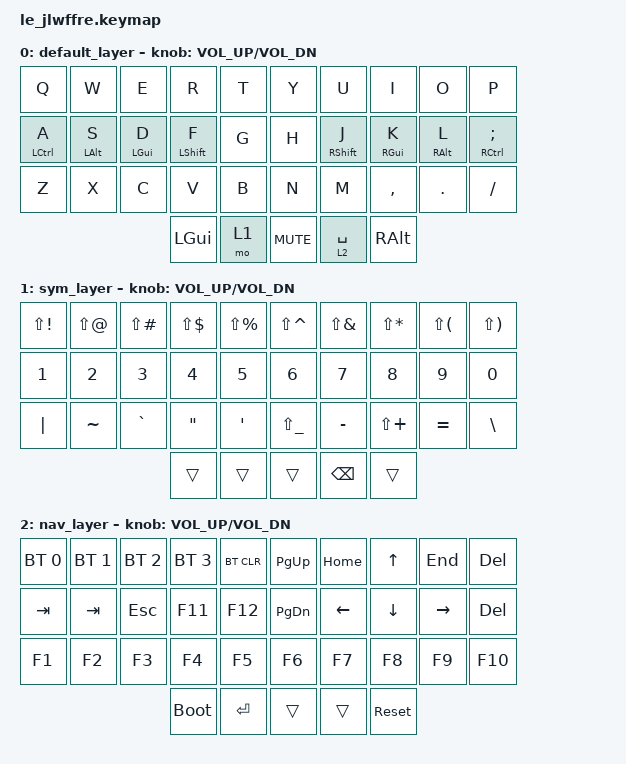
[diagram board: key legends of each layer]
/*
 * Copyright (c) 2022 The ZMK Contributors
 *
 * SPDX-License-Identifier: MIT
 */

#include <behaviors.dtsi>
#include <dt-bindings/zmk/keys.h>
#include <dt-bindings/zmk/bt.h>

/ {
    combos {
        compatible = "zmk,combos";

        Backspace {
            bindings = <&kp BACKSPACE>;
            key-positions = <19 18>;
            timeout-ms = <30>;
        };

        CapsLock {
            bindings = <&kp CAPS>;
            key-positions = <5 4>;
            timeout-ms = <30>;
        };

        LParenthesis {
            bindings = <&kp LEFT_PARENTHESIS>;
            key-positions = <7 6>;
            timeout-ms = <30>;
        };

        RParenthesis {
            bindings = <&kp RIGHT_PARENTHESIS>;
            key-positions = <8 7>;
            timeout-ms = <30>;
        };

        LBrace {
            bindings = <&kp LEFT_BRACE>;
            key-positions = <17 16>;
            timeout-ms = <30>;
        };

        RBrace {
            bindings = <&kp RIGHT_BRACE>;
            key-positions = <18 17>;
            timeout-ms = <30>;
        };

        LBracket {
            bindings = <&kp LEFT_BRACKET>;
            key-positions = <27 26>;
            timeout-ms = <30>;
        };

        RBracket {
            bindings = <&kp RIGHT_BRACKET>;
            key-positions = <28 27>;
            timeout-ms = <30>;
        };
    };

    behaviors {
        hrm: homewrow_mods {
            compatible = "zmk,behavior-hold-tap";
            label = "HOMEROW_MODS";
            bindings = <&kp>, <&kp>;

            #binding-cells = <2>;
            tapping-term-ms = <200>;
            hold-trigger-key-positions = <0 1 2 3 4 5 17 16 15 14 13 12 25 26 27 28 29 37 36 38 24 6 7 8 9 10 11 23 22 21 20 19 18 30 39 40 41 31 32 33 35 34>;
            flavor = "tap-preferred";
        };

        hrs: homewrow_shift {
            compatible = "zmk,behavior-hold-tap";
            label = "HOMEROW_SHIFT";
            bindings = <&kp>, <&kp>;

            #binding-cells = <2>;
            tapping-term-ms = <200>;
            hold-trigger-key-positions = <6 7 8 9 10 11 18 19 20 21 22 23 30 31 32 33 34 35 39 40 41 17 4 16 5 29 28 37 36 38 27 15 3 2 14 26 25 13 1 0 12 24>;
            flavor = "balanced";
        };
    };


    keymap {
        compatible = "zmk,keymap";
        default_layer {
            bindings = <
        //╭──────────┬──────────┬──────────┬──────────┬──────────╮                      ╭──────────┬──────────┬──────────┬──────────┬──────────╮
        //│  Q       │  W       │  E       │  R       │  T       │                      │  J       │  L       │  U       │  Y       │ ' "      │
        //    &kp Q      &kp W      &kp E      &kp R      &kp T                             &kp J      &kp L      &kp U      &kp Y      &as SQT
        //├──────────┼──────────┼──────────┼──────────┼──────────┤                      ├──────────┼──────────┼──────────┼──────────┼──────────┤
        //│  A       │  R       │  D       │  F       │  G       │                      │  M       │  N       │  E       │  I       │ O        │
        //    HRML(A,     R,                  &kp F     &kp G                             &kp M      &kp N      HRMR(E,     I,        O)
        //├──────────┼──────────┼──────────┼──────────┼──────────┤                      ├──────────┼──────────┼──────────┼──────────┼──────────┤
        //│  Z       │  X       │  C       │  D       │  V       │                      │  K       │  H       │ , <      │ . >      │ / ?      │
        //    &kp Z      &kp X      &kp C      &kp D      &kp V                             &kp K      &kp H      &as COMMA  &as DOT    &as FSLH
        //╰──────────┴──────────┴──────────┼──────────┼──────────┤                      ├──────────┼──────────┼──────────┴──────────┴──────────╯
        //                                    &lt 3 TAB  &mt LSHIFT BSPC   &kp C_MUTE      &lt 1 SPACE &lt 2 RET
        //                                 ╰──────────┴──────────╯                      ╰──────────┴──────────╯
            
&kp Q                &kp W            &kp E            &kp R              &kp T      &kp Y      &kp U               &kp I             &kp O             &kp P                       
&hrm LEFT_CONTROL A  &hrm LEFT_ALT S  &hrm LEFT_GUI D  &hrs LEFT_SHIFT F  &kp G      &kp H      &hrs RIGHT_SHIFT J  &hrm RIGHT_GUI K  &hrm RIGHT_ALT L  &hrm RIGHT_CONTROL SEMICOLON
&kp Z                &kp X            &kp C            &kp V              &kp B      &kp N      &kp M               &kp COMMA         &kp DOT           &kp FSLH
                                                        &kp LGUI         &mo 1      &kp C_MUTE         &lt 2 SPACE  &kp RIGHT_ALT
            >;
            sensor-bindings = <&inc_dec_kp C_VOL_UP C_VOL_DN>;
        };

        sym_layer {
            bindings = <
        //╭──────────┬──────────┬──────────┬──────────┬──────────╮      ╭──────────┬──────────┬──────────┬──────────┬──────────╮
        //│  ` ~     │          │          │          │          │      │  \ |     │  - _     │  = +     │  [       │  ]       │
        //    &as GRAVE  &none      &none      &none      &none             &as BSLH   &as MINUS  &as EQUAL  &as LBKT   &as RBKT
        //├──────────┼──────────┼──────────┼──────────┼──────────┤      ├──────────┼──────────┼──────────┼──────────┼──────────┤
        //│  1 !     │  2 @     │  3 #     │  4 $     │  5 %     │      │  6 ^     │  7 &     │  8 *     │  9 (     │  0 )     │
        //    &as N1     &as N2     &as N3     &as N4     &as N5            &as N6     &as N7     &as N8     &as N9     &as N0
        //├──────────┼──────────┼──────────┼──────────┼──────────┤      ├──────────┼──────────┼──────────┼──────────┼──────────┤
        //│          │          │          │          │          │      │          │          │          │          │          │
        //    &none      &none      &none      &none      &none             &none      &none      &trans     &trans     &as SEMI
        //╰──────────┴──────────┴──────────┼──────────┼──────────┤      ├──────────┼──────────┼──────────┴──────────┴──────────╯
        //                                     &trans     &trans    &trans  &trans     &trans
        //                                 ╰──────────┴──────────╯      ╰──────────┴──────────╯
&kp LS(EXCL)  &kp LS(AT)  &kp LS(POUND)  &kp LS(DLLR)  &kp LS(PRCNT)    &kp LS(CARET)  &kp LS(AMPS)  &kp LS(STAR)  &kp LS(LPAR)  &kp LS(RPAR)
&kp N1        &kp N2      &kp N3         &kp N4        &kp N5           &kp N6         &kp N7        &kp N8        &kp N9        &kp N0        
&kp PIPE      &kp TILDE   &kp GRAVE      &kp DQT       &kp SQT          &kp LS(UNDER)  &kp MINUS     &kp LS(PLUS)  &kp EQUAL     &kp BSLH      
                                   &trans         &trans        &trans           &kp BACKSPACE  &trans
            >;
            sensor-bindings = <&inc_dec_kp C_VOL_UP C_VOL_DN>;
        };

        //fn_layer {
        //    bindings = <
        //╭──────────┬──────────┬──────────┬──────────┬──────────╮      ╭──────────┬──────────┬──────────┬──────────┬──────────╮
        //│          │          │          │          │          │      │          │          │          │  F11     │  F12     │
        //    &bt BT_CLR  &bt BT_SEL 0 &bt BT_SEL 1 &bt BT_SEL 2 &none      &none      &none      &none      &kp F11    &kp F12
        //├──────────┼──────────┼──────────┼──────────┼──────────┤      ├──────────┼──────────┼──────────┼──────────┼──────────┤
        //│  F1      │  F2      │  F3      │  F4      │  F5      │      │  F6      │  F7      │  F8      │  F9      │  F10     │
        //    HRML(F1,    F2,        F3)       &kp F4     &kp F5            &kp F6     &kp F7     HRMR(F8,    F9,        F10)
        //├──────────┼──────────┼──────────┼──────────┼──────────┤      ├──────────┼──────────┼──────────┼──────────┼──────────┤
        //│          │          │          │          │          │      │          │          │          │          │          │
        //    &none      &none      &none      &none      &none             &none      &none      &none      &none      &none
        //╰──────────┴──────────┴──────────┼──────────┼──────────┤      ├──────────┼──────────┼──────────┴──────────┴──────────╯
        //                                     &trans     &trans    &trans  &trans     &trans
        //                                 ╰──────────┴──────────╯      ╰──────────┴──────────╯
        //    >;
        //    sensor-bindings = <&inc_dec_kp C_VOL_UP C_VOL_DN>;
        //};

        nav_layer {
            bindings = <
        //╭──────────┬──────────┬──────────┬──────────┬──────────╮      ╭──────────┬──────────┬──────────┬──────────┬──────────╮
        //│          │          │          │          │          │      │  HOME    │          │  UP      │          │  PG_UP   │
        //    &none      &none  &kp LS(LG(N4)) &kp LS(LG(S)) &none         &kp HOME   &none      &kp UP     &none      &kp PG_UP
        //├──────────┼──────────┼──────────┼──────────┼──────────┤      ├──────────┼──────────┼──────────┼──────────┼──────────┤
        //│  LGUI    │  LALT    │  LCTRL   │          │          │      │  END     │  LEFT    │  DOWN    │  RIGHT   │  PG_DN   │
        //    &kp LGUI   &kp LALT   &kp LCTRL  &none      &none             &kp END    &kp LEFT   &kp DOWN  &kp RIGHT  &kp PG_DN
        //├──────────┼──────────┼──────────┼──────────┼──────────┤      ├──────────┼──────────┼──────────┼──────────┼──────────┤
        //│          │          │          │          │          │      │          │          │          │          │          │
        //    &none      &none      &kp C_MUTE &kp C_VOL_DN &kp C_VOL_UP    &none      &none      &none      &none      &none
        //╰──────────┴──────────┴──────────┼──────────┼──────────┤      ├──────────┼──────────┼──────────┴──────────┴──────────╯
        //                                     &trans     &trans    &trans  &trans     &trans
        //                                 ╰──────────┴──────────╯      ╰──────────┴──────────╯

&bt BT_SEL 0  &bt BT_SEL 1  &bt BT_SEL 2  &bt BT_SEL 3 &bt BT_CLR     &kp PG_UP  &kp HOME  &kp UP    &kp END    &kp DEL
&kp TAB       &kp TAB        &kp ESC        &kp F11        &kp F12          &kp PG_DN  &kp LEFT  &kp DOWN  &kp RIGHT  &kp DEL
&kp F1        &kp F2        &kp F3        &kp F4        &kp F5          &kp F6     &kp F7    &kp F8    &kp F9     &kp F10
                                        &bootloader        &kp ENTER       &trans     &trans    &sys_reset
            >;
            sensor-bindings = <&inc_dec_kp C_VOL_UP C_VOL_DN>;
        };

    };

};
